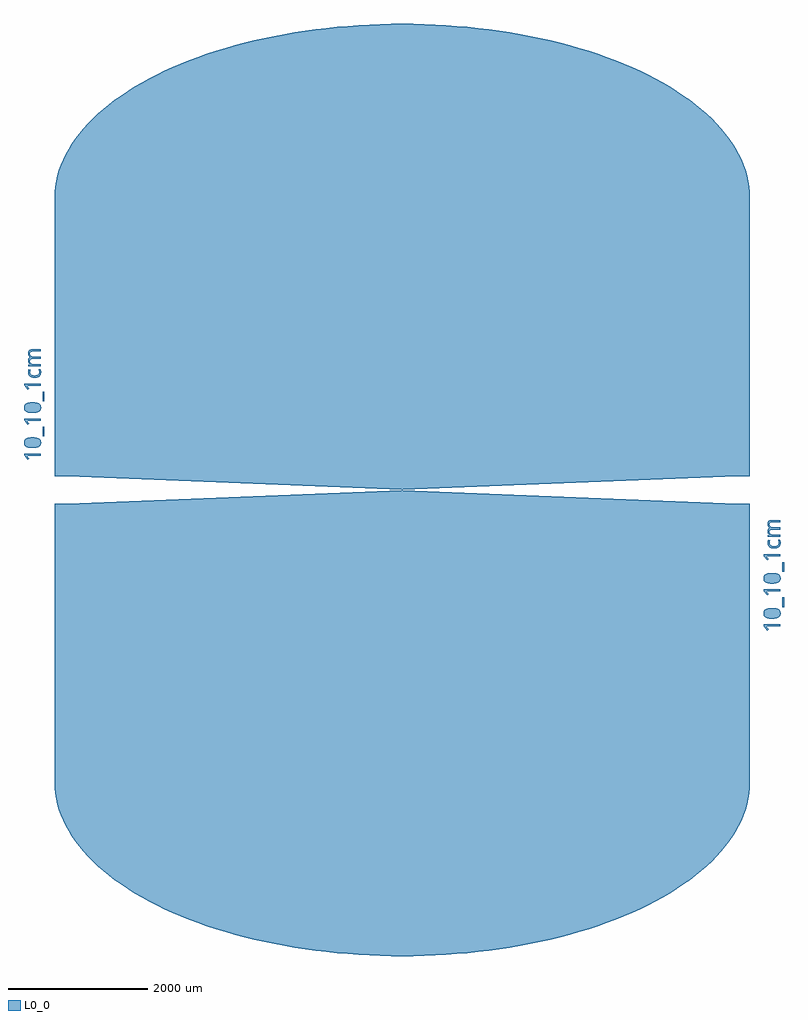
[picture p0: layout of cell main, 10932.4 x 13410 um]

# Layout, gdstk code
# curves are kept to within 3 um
import gdstk
lib = gdstk.Library(unit=1e-6, precision=1e-09)
def R(c, l, rs):  # rectangles x0, y0, x1, y1
    for r in rs: c.add(gdstk.rectangle(r[:2], r[2:], *l))
def P(c, l, *ps):  # polygons
    for p in ps: c.add(gdstk.Polygon(p, *l))
L0_0 = (0, 0)

main = lib.new_cell('main')
R(main, L0_0, [(-2370,-6501,7630,-2497), (8097.9,-3979.5,8120.7,-3841.1), (8097.9,-3475.2,8120.7,-3336.9), (2625,-2501,2635,-2091), (-2370,-2095,7630,1909), (-2540,-1524.5,-2517.2,-1386.1), (-2540,-1020.2,-2517.2,-881.9)])
P(main, L0_0, [(8067.9,-2757.3),(8067.9,-2727.7),(7938.3,-2728.3),(7916.9,-2732.9),(7898.6,-2745.2),(7887.4,-2769.2),(7886.8,-2796.2),(7897.4,-2822.7),(7915.6,-2840.3),(7893.2,-2859.5),(7886.1,-2896.4),(7894,-2922.9),(7913.3,-2943),(7889.2,-2947.3),(7889.2,-2971.3),(8067.9,-2971.3),(8067.9,-2941.7),(7972.2,-2941.7),(7940.8,-2938),(7917.6,-2923.4),(7910.6,-2900.1),(7915.7,-2878.1),(7934.3,-2866.4),(8067.9,-2864.4),(8067.9,-2834.6),(7961,-2834.4),(7927.2,-2825.6),(7916.1,-2814.1),(7911.1,-2799.6),(7911.5,-2781.2),(7919.2,-2767.2),(7944.9,-2757.6)],
  [(8071.2,-3057.3),(8068.8,-3032.9),(8061.7,-3014),(8035.3,-3014),(8045.3,-3054.7),(8037.6,-3085),(8013.9,-3100.7),(7972.5,-3104.9),(7935.7,-3097.5),(7917.9,-3081.7),(7912.1,-3052.5),(7920.7,-3019.7),(7895.6,-3010.9),(7886,-3053.4),(7891,-3087.1),(7907.2,-3112.5),(7936.3,-3129.4),(7974.6,-3135.5),(8014.2,-3131.7),(8045.1,-3117),(8063.9,-3093.6)],
  [(8067.9,-3221.8),(7830,-3221.8),(7830,-3246.2),(7878.6,-3308.6),(7898.6,-3293),(7860.6,-3249.2),(8067.9,-3250.5)],
  [(7943.8,-3612.1),(7994.9,-3609.2),(8030.4,-3597.1),(8040,-3587.9),(8045.4,-3573.7),(8045,-3557.1),(8038.8,-3543.5),(8008.3,-3526),(7962.8,-3520.4),(7902.4,-3523.3),(7865.1,-3537.3),(7855.4,-3548.9),(7851.7,-3564.1),(7853.7,-3580.2),(7861.8,-3592.8),(7892.4,-3607.3)],
  [(7948.6,-3490.2),(7911.1,-3492.5),(7875.8,-3500.8),(7855.4,-3511),(7838.1,-3527.3),(7828.3,-3548.5),(7826.9,-3578.3),(7832.9,-3598.6),(7849.9,-3619.1),(7872.2,-3631.4),(7897.1,-3638.2),(7976,-3641.1),(8025,-3630.4),(8059.3,-3605.6),(8069.2,-3584.5),(8071.1,-3562.5),(8065.8,-3537.4),(8052.8,-3518.3),(8017.4,-3498.5)],
  [(8067.9,-3726.1),(7830,-3726.1),(7830,-3750.5),(7878.6,-3812.8),(7898.6,-3797.2),(7860.6,-3753.4),(8067.9,-3754.7)],
  [(7948.6,-4116.4),(8001.7,-4112.2),(8030.4,-4101.3),(8040,-4092.1),(8045.4,-4078),(8045,-4061.4),(8038.8,-4047.7),(8011.3,-4031.1),(7962.8,-4024.6),(7898.9,-4028.1),(7865.1,-4041.5),(7855.4,-4053.1),(7851.7,-4068.3),(7853.7,-4084.5),(7861.8,-4097),(7892.4,-4111.5)],
  [(7942.9,-3994.5),(7879.7,-4003.7),(7842.2,-4026.4),(7831.5,-4043),(7826.3,-4067),(7829.2,-4093.2),(7840.1,-4113.9),(7876,-4137),(7931.9,-4146.1),(8000.3,-4141.9),(8028.7,-4133.1),(8050.3,-4119.6),(8065.8,-4098.4),(8071.1,-4074.6),(8068.2,-4048.2),(8057.2,-4027.4),(8038.8,-4012),(8013.3,-4001.6)],
  [(8067.9,-4230.3),(7830,-4230.3),(7830,-4254.7),(7878.6,-4317.1),(7898.6,-4301.4),(7860.6,-4257.6),(8067.9,-4258.9)],
  [(-2570,-302.3),(-2570,-272.7),(-2699.6,-273.3),(-2721,-277.9),(-2739.3,-290.2),(-2750.6,-314.2),(-2750.6,-344.3),(-2742.4,-365),(-2722.4,-385.3),(-2737.8,-395.2),(-2746.3,-407.2),(-2751.7,-442.9),(-2743.9,-467.9),(-2724.6,-488),(-2748.8,-492.2),(-2748.8,-516.3),(-2570,-516.3),(-2570,-486.7),(-2695,-483.6),(-2719.2,-469.8),(-2727.4,-445.1),(-2722.2,-423.1),(-2703.6,-411.4),(-2570,-409.4),(-2570,-379.6),(-2676.9,-379.4),(-2710.8,-370.5),(-2721,-360.6),(-2727.1,-342.5),(-2725.7,-323.4),(-2718.9,-312.2),(-2693.1,-302.6)],
  [(-2566.8,-596.7),(-2576.4,-559),(-2602.8,-559),(-2594.4,-582.8),(-2592.6,-602.3),(-2596.5,-623.3),(-2605.4,-635.7),(-2619.6,-644.2),(-2639.7,-648.9),(-2688.6,-647),(-2712.6,-635.8),(-2723.3,-619.2),(-2725.7,-595.7),(-2717.4,-564.7),(-2742.4,-555.9),(-2750.7,-583.5),(-2751.8,-607.5),(-2744.7,-637.7),(-2726,-661.6),(-2694.3,-676.6),(-2648.9,-680.3),(-2613.2,-673.3),(-2586,-655.8),(-2570.8,-630.1)],
  [(-2570,-766.8),(-2807.9,-766.8),(-2807.9,-791.2),(-2759.3,-853.6),(-2739.3,-837.9),(-2777.4,-794.2),(-2570,-795.5)],
  [(-2694.2,-1157.1),(-2639.6,-1153.6),(-2607.5,-1142),(-2592.9,-1121),(-2596.8,-1092),(-2618.5,-1074.8),(-2657.9,-1066.4),(-2724.4,-1066.8),(-2768.9,-1079.5),(-2780.3,-1090.2),(-2785.8,-1104.4),(-2784.9,-1123.1),(-2777.6,-1136.2),(-2748.6,-1151.5)],
  [(-2695,-1035.2),(-2762.1,-1045.8),(-2797.9,-1069.7),(-2808.8,-1090.1),(-2811.7,-1115.6),(-2808.8,-1134),(-2797.8,-1154.7),(-2761.9,-1177.8),(-2706.1,-1186.9),(-2637.8,-1182.7),(-2590.3,-1162.6),(-2575,-1145.1),(-2567.1,-1119),(-2569.7,-1089),(-2580.7,-1068.2),(-2599.2,-1052.8),(-2624.7,-1042.3)],
  [(-2570,-1271),(-2807.9,-1271),(-2807.9,-1295.5),(-2759.3,-1357.8),(-2739.3,-1342.2),(-2777.4,-1298.4),(-2570,-1299.7)],
  [(-2694.2,-1661.3),(-2643.1,-1658.4),(-2607.5,-1646.3),(-2596.8,-1635.3),(-2592.5,-1623),(-2592.9,-1606.3),(-2599.3,-1592.7),(-2626.7,-1576.1),(-2675.1,-1569.6),(-2735.6,-1572.5),(-2772.8,-1586.5),(-2782.5,-1598.1),(-2786.3,-1613.3),(-2784.2,-1629.5),(-2776.1,-1642),(-2745.6,-1656.5)],
  [(-2689.3,-1539.4),(-2758.2,-1548.7),(-2782.6,-1560.2),(-2799.9,-1576.5),(-2810.4,-1601.1),(-2811,-1627.5),(-2803.5,-1650.8),(-2788.2,-1668.3),(-2769.3,-1679.2),(-2741,-1687.4),(-2661.9,-1690.3),(-2609.3,-1678.1),(-2578.6,-1654.8),(-2569.7,-1637.1),(-2566.8,-1611.7),(-2570.8,-1589.9),(-2582.9,-1569.9),(-2602.4,-1555.2),(-2624.7,-1546.6)],
  [(-2570,-1775.3),(-2807.9,-1775.3),(-2807.9,-1799.7),(-2759.3,-1862),(-2739.3,-1846.4),(-2777.4,-1802.6),(-2570,-1803.9)],
  [(-2370,-2501),(7630,-2501),(2630,-2301.2),(2635,-2301),(2625,-2301),(2630,-2301.2)],
  [(-2370,-2091),(2630,-2290.8),(2625,-2291),(2635,-2291),(2630,-2290.8),(7630,-2091)],
  [(-2370,-6501),(-2360.1,-6658),(-2330.6,-6814.3),(-2308.5,-6892.1),(-2249.6,-7046.4),(-2171.5,-7198.5),(-2125.3,-7273.5),(-2074.4,-7347.9),(-1958.8,-7493.9),(-1894.2,-7565.4),(-1751.5,-7705.4),(-1591.7,-7840.6),(-1505.4,-7906.2),(-1415.1,-7970.5),(-1222.6,-8094.6),(-1014.9,-8212.4),(-905.6,-8268.8),(-676.5,-8376.3),(-557.1,-8427.3),(-180.4,-8568.7),(221.2,-8691.8),(644.3,-8795.4),(1084.9,-8878.6),(1539.3,-8940.8),(2003.3,-8981.3),(2316,-8996.1),(2630,-9001),(2943.9,-8996.1),(3256.7,-8981.3),(3720.7,-8940.8),(4175,-8878.6),(4615.7,-8795.4),(5038.8,-8691.8),(5440.4,-8568.7),(5817.1,-8427.3),(5936.5,-8376.3),(6165.6,-8268.8),(6380.6,-8154.3),(6482.5,-8094.6),(6580.8,-8033.3),(6765.4,-7906.2),(6851.7,-7840.6),(7011.5,-7705.4),(7154.2,-7565.4),(7218.8,-7493.9),(7334.4,-7347.9),(7385.3,-7273.5),(7431.5,-7198.5),(7509.6,-7046.4),(7568.5,-6892.1),(7590.6,-6814.3),(7620.1,-6658),(7630,-6501)],
  [(-2370,-6501),(-2360.1,-6658),(-2330.6,-6814.3),(-2308.5,-6892.1),(-2249.6,-7046.4),(-2171.5,-7198.5),(-2125.3,-7273.5),(-2074.4,-7347.9),(-1958.8,-7493.9),(-1894.2,-7565.4),(-1751.5,-7705.4),(-1591.7,-7840.6),(-1505.4,-7906.2),(-1415.1,-7970.5),(-1222.6,-8094.6),(-1014.9,-8212.4),(-905.6,-8268.8),(-676.5,-8376.3),(-557.1,-8427.3),(-180.4,-8568.7),(221.2,-8691.8),(644.3,-8795.4),(1084.9,-8878.6),(1539.3,-8940.8),(2003.3,-8981.3),(2316,-8996.1),(2630,-9001),(2943.9,-8996.1),(3256.7,-8981.3),(3720.7,-8940.8),(4175,-8878.6),(4615.7,-8795.4),(5038.8,-8691.8),(5440.4,-8568.7),(5817.1,-8427.3),(5936.5,-8376.3),(6165.6,-8268.8),(6380.6,-8154.3),(6482.5,-8094.6),(6580.8,-8033.3),(6765.4,-7906.2),(6851.7,-7840.6),(7011.5,-7705.4),(7154.2,-7565.4),(7218.8,-7493.9),(7334.4,-7347.9),(7385.3,-7273.5),(7431.5,-7198.5),(7509.6,-7046.4),(7568.5,-6892.1),(7590.6,-6814.3),(7620.1,-6658),(7630,-6501)],
  [(7630,1909),(7620.1,2065.9),(7590.6,2222.3),(7568.5,2300.1),(7509.6,2454.4),(7431.5,2606.5),(7385.3,2681.5),(7278.9,2829.3),(7218.8,2901.9),(7154.2,2973.4),(7011.5,3113.4),(6851.7,3248.6),(6765.4,3314.1),(6580.8,3441.2),(6482.5,3502.6),(6380.6,3562.3),(6165.6,3676.8),(5936.5,3784.3),(5817.1,3835.3),(5440.4,3976.6),(5038.8,4099.7),(4615.7,4203.4),(4175,4286.6),(3720.7,4348.9),(3256.7,4389.3),(2943.9,4404.1),(2630,4409),(2316,4404.1),(2003.3,4389.3),(1539.3,4348.9),(1084.9,4286.6),(644.3,4203.4),(221.2,4099.7),(-180.4,3976.6),(-557.1,3835.3),(-676.5,3784.3),(-905.6,3676.8),(-1014.9,3620.4),(-1222.6,3502.6),(-1415.1,3378.4),(-1505.4,3314.1),(-1591.7,3248.6),(-1751.5,3113.4),(-1894.2,2973.4),(-1958.8,2901.9),(-2018.9,2829.3),(-2125.3,2681.5),(-2171.5,2606.5),(-2249.6,2454.4),(-2308.5,2300.1),(-2330.6,2222.3),(-2360.1,2065.9),(-2370,1909)],
  [(7630,1909),(7620.1,2065.9),(7590.6,2222.3),(7568.5,2300.1),(7509.6,2454.4),(7431.5,2606.5),(7385.3,2681.5),(7278.9,2829.3),(7218.8,2901.9),(7154.2,2973.4),(7011.5,3113.4),(6851.7,3248.6),(6765.4,3314.1),(6580.8,3441.2),(6482.5,3502.6),(6380.6,3562.3),(6165.6,3676.8),(5936.5,3784.3),(5817.1,3835.3),(5440.4,3976.6),(5038.8,4099.7),(4615.7,4203.4),(4175,4286.6),(3720.7,4348.9),(3256.7,4389.3),(2943.9,4404.1),(2630,4409),(2316,4404.1),(2003.3,4389.3),(1539.3,4348.9),(1084.9,4286.6),(644.3,4203.4),(221.2,4099.7),(-180.4,3976.6),(-557.1,3835.3),(-676.5,3784.3),(-905.6,3676.8),(-1014.9,3620.4),(-1222.6,3502.6),(-1415.1,3378.4),(-1505.4,3314.1),(-1591.7,3248.6),(-1751.5,3113.4),(-1894.2,2973.4),(-1958.8,2901.9),(-2018.9,2829.3),(-2125.3,2681.5),(-2171.5,2606.5),(-2249.6,2454.4),(-2308.5,2300.1),(-2330.6,2222.3),(-2360.1,2065.9),(-2370,1909)])

lib.write_gds('main.gds')
